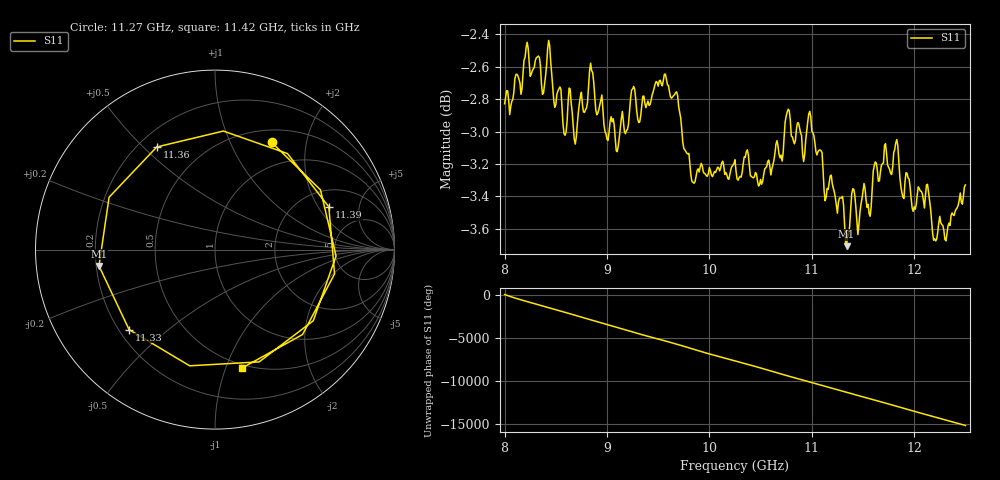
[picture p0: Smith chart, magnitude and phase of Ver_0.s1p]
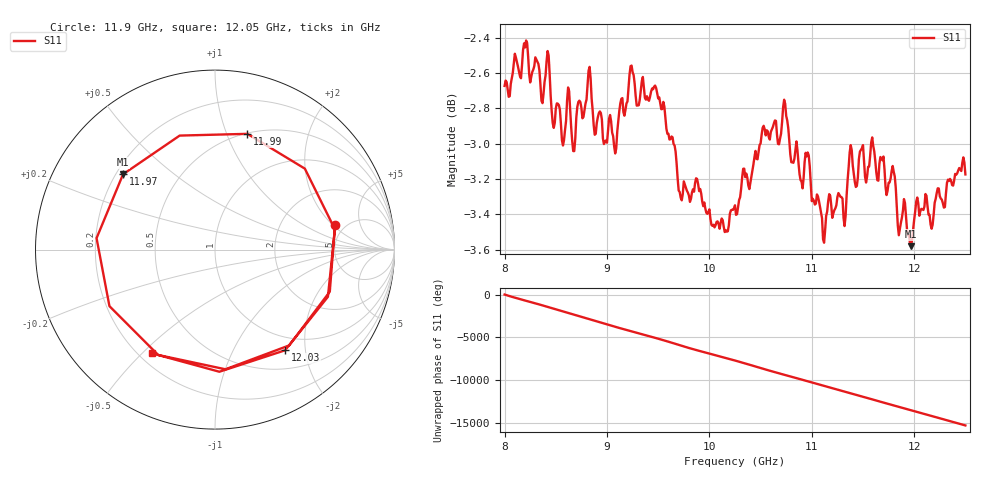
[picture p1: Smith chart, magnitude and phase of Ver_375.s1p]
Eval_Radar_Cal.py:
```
import numpy as np
import matplotlib.pyplot as plt
import pandas as pd
import os
from scipy import linalg,signal
from scipy.optimize import minimize
import metas_unclib as munc  # METAS uncertainty library for GUM-compliant propagation
import skrf as rf
from skrf.media import RectangularWaveguide
from E_Cal import xBand_ECal  # X-band E-Cal algorithm with uncertainty propagation



def vector_error_magnitude(ref_mean, dut_mean):
    """
    Returns the per-frequency error vector magnitude |ref_mean - dut_mean|.

    Parameters
    ----------
    ref_mean, dut_mean : rf.Network, munc array, or complex array-like
        Mean values of the reference and DUT calibrations.
        Accepts rf.Network (.s[:,0,0]), munc.get_value() output
        (shape (nfreqs,1,1)), or plain 1-D complex arrays.

    Returns
    -------
    numpy.ndarray, shape (nfreqs,)
        Error vector magnitude in dB (20*log10|ref - dut|) at each frequency point.
    """
    def _s11(x):
        if hasattr(x, 's'):
            return x.s[:, 0, 0]
        a = np.asarray(x)
        return a[:, 0, 0] if a.ndim == 3 else a.ravel()

    return 20 * np.log10(np.abs(_s11(ref_mean) - _s11(dut_mean)))


# --- Load reference and measured standards (folder = measurement date 090626) ---

# Reference verification short (zero offset): used as the "truth" standard
ref_short = rf.Network('090626/Ver_0.s1p')["8.4-12.5GHz"]

# Reference offset shorts at λ/8 steps (375, 750, 1125 µm) — VNA-measured verification standards
ref_short_l8  = rf.Network('090626/Ver_375.s1p')["8.4-12.5GHz"]
ref_short_l4  = rf.Network('090626/Ver_750.s1p')["8.4-12.5GHz"]
ref_short_3l8 = rf.Network('090626/Ver_1125.s1p')["8.4-12.5GHz"]

# Auto-cal-unit (ECal device) measurements: flush short + three offset shorts
meas_short   = rf.Network('090626/calkit_l0.s1p')["8.4-12.5GHz"]
meas_short_1 = rf.Network('090626/calkit_l8.s1p')["8.4-12.5GHz"]
meas_short_2 = rf.Network('090626/calkit_l4.s1p')["8.4-12.5GHz"]
meas_short_3 = rf.Network('090626/calkit_3l8.s1p')["8.4-12.5GHz"]

# DUT: matched load, used to validate calibration quality after correction
match_std = rf.Network('090626/Match.s1p')["8.4-12.5GHz"]


freq = ref_short.frequency
f = freq.f

# WR90 waveguide model (a = 22.86 mm broad wall) with 50 Ω port impedance (used for compliency with touchstone files)
WR90 = rf.RectangularWaveguide(freq, a=22.86E-3, z0=50)
# Ideal short: S11 = -1; tiny imaginary part avoids log(0) in uncertainty calculations
WR90_short = rf.Network(s=(-1-0.000000000001j)*np.ones(len(freq)), frequency=freq, z0=50)

# Ideal offset shorts: waveguide delay line cascaded with the ideal short
rho1 = WR90.line(3.75,  'mm') ** WR90_short   # λ/8 offset
rho2 = WR90.line(7.5,   'mm') ** WR90_short   # λ/4 offset
rho3 = WR90.line(11.25, 'mm') ** WR90_short   # 3λ/8 offset

# Separate copies for the cal run so rho values stay independent of ref_cal
rho1_cal = WR90.line(3.75,  'mm') ** WR90_short
rho2_cal = WR90.line(7.5,   'mm') ** WR90_short
rho3_cal = WR90.line(11.25, 'mm') ** WR90_short




# --- E-Cal using the auto-cal-unit measurements ---
# find_lengths=True: offset lengths are optimised (Nelder-Mead, "nm") because
# the ECal internal line lengths are not precisely known a priori.
# Uncertainty variances (σ²) cover noise floor, noise temperature, line length,
# directivity, tracking, and source-match contributions.
cal = xBand_ECal(standard1=meas_short_1.s11, standard2=meas_short_2.s11, standard3=meas_short_3.s11, rho1=rho1_cal, rho2=rho2_cal, rho3=rho3_cal,
                sigma_NF=(0.000001**2)*np.ones(len(freq)), sigma_NT=(0.000025**2)*np.ones(len(freq)), sigma_L=(0.0012**2)*np.ones(len(freq)),
                sigma_DD=(0.002**2)*np.ones(len(freq)), sigma_DT=(0.0125**2)*np.ones(len(freq)), sigma_DM=(0.025**2)*np.ones(len(freq)),
                sigma_RR=(0.004**2)*np.ones(len(freq)), sigma_RT=(0.0000001**2)*np.ones(len(freq)), sigma_RM=(0.004**2)*np.ones(len(freq)),
                sigma_SR=(0.05**2)*np.ones(len(freq)), find_lengths=True, find_lengths_options="nm",
                enhanced_console_output=True, initial_guess=[3.75, 7.5, 11.25], ref_standard=meas_short.s11, ref_standard_rho=WR90_short, Waveguide=WR90)

# --- Reference E-Cal using verification standards (known lengths, find_lengths=False) ---
# Line lengths are fixed at nominal values; used as the gold-standard correction
# for comparison against the auto-cal-unit result.
ref_cal = xBand_ECal(standard1=ref_short_l8.s11, standard2=ref_short_l4.s11, standard3=ref_short_3l8.s11, rho1=rho1, rho2=rho2, rho3=rho3,
                sigma_NF=(0.000001**2)*np.ones(len(freq)), sigma_NT=(0.000025**2)*np.ones(len(freq)), sigma_L=(0.0012**2)*np.ones(len(freq)),
                sigma_DD=(0.002**2)*np.ones(len(freq)), sigma_DT=(0.0125**2)*np.ones(len(freq)), sigma_DM=(0.025**2)*np.ones(len(freq)),
                sigma_RR=(0.004**2)*np.ones(len(freq)), sigma_RT=(0.0000001**2)*np.ones(len(freq)), sigma_RM=(0.004**2)*np.ones(len(freq)),
                sigma_SR=(0.05**2)*np.ones(len(freq)), find_lengths=False, find_lengths_options="de",
                enhanced_console_output=True, initial_guess=[3.75, 7.5, 11.25], ref_standard=ref_short.s11, ref_standard_rho=WR90_short, Waveguide=WR90)

# Run both calibrations (solves for error terms + propagates uncertainties)
cal.run()
ref_cal.run()


# Apply calibration corrections to the matched load (DUT) using both cal sets
dut_ref = ref_cal.apply_cal(match_std.s11)  # corrected with reference (verification) cal
dut     = cal.apply_cal(match_std.s11)      # corrected with auto-cal-unit cal

# --- Plot: S11 magnitude of auto-cal-unit result + reference ±1σ band ---
plt.figure(figsize=(6, 3))
plt.plot(f,(20*np.log10(np.abs(munc.get_value(dut)))), label='Measured (Auto-Cal-Unit)', color='blue')
# Grey band = ±1σ from reference calibration; shows whether auto-cal falls within reference uncertainty
plt.fill_between(f,(20*np.log10(np.abs(munc.get_value(dut_ref))-np.abs(munc.get_stdunc(dut_ref)))), (20*np.log10(np.abs(munc.get_value(dut_ref))+np.abs(munc.get_stdunc(dut_ref)))), color='grey', alpha=0.5, label='$\pm\sigma$ Reference')
plt.legend()
plt.xlabel('Frequency (GHz)')
plt.ylabel('Magnitude (dB)')
plt.xticks([8.5e9, 9.5e9, 10.5e9, 11.5e9, 12.5e9], ['8.5', '9.5', '10.5', '11.5', '12.5'])
plt.grid()
plt.tight_layout()
plt.savefig('UNC.svg')
plt.show()
```
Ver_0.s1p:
#  HZ  S  RI  R  50.00
! Rohde & Schwarz Vector Network Analyzer
! Rohde-Schwarz,ZNA43-4Port,1332450044101932,2.92
! Created: UTC 6/9/2026, 6:30:11 AM
! freq[Hz]  re:S11  im:S11
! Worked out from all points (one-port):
!   451 points, 8 GHz to 12.5 GHz, reference 50 ohm
!   lowest |S11| = -3.7 dB at 11.34 GHz (marker M1), VSWR 4.76, Z = 10.6 - j3.36 ohm
!   |S11| at or under -10 dB: nowhere
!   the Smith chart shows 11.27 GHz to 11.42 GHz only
!   S11 on the Smith chart (normalised r, x): 11.27 GHz: 0.66, +1.45; 11.33 GHz: 0.24, -0.37; 11.36 GHz: 0.27, +0.55; 11.39 GHz: 2.84, +2.50; 11.42 GHz: 0.47, -1.14
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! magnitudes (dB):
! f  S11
! 8 GHz  -2.8
! 8.43 GHz  -2.4
! 8.59 GHz  -3.0
! 9.1 GHz  -3.1
! 9.5 GHz  -2.7
! 9.84 GHz  -3.3
! 11 GHz  -3.0
! 11.27 GHz  -3.4
! 11.33 GHz  -3.7
! 11.34 GHz  -3.7
! 11.36 GHz  -3.6
! 11.39 GHz  -3.4
! 11.42 GHz  -3.4
! 12.5 GHz  -3.3
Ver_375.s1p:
#  HZ  S  RI  R  50.00
! Rohde & Schwarz Vector Network Analyzer
! Rohde-Schwarz,ZNA43-4Port,1332450044101932,2.92
! Created: UTC 6/9/2026, 6:30:42 AM
! freq[Hz]  re:S11  im:S11
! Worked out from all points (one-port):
!   451 points, 8 GHz to 12.5 GHz, reference 50 ohm
!   lowest |S11| = -3.6 dB at 11.97 GHz (marker M1), VSWR 4.92, Z = 11.4 + j17 ohm
!   |S11| at or under -10 dB: nowhere
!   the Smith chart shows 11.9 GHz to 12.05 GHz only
!   S11 on the Smith chart (normalised r, x): 11.9 GHz: 4.15, +2.14; 11.97 GHz: 0.23, +0.34; 11.99 GHz: 0.51, +1.19; 12.03 GHz: 0.78, -1.63; 12.05 GHz: 0.25, -0.54
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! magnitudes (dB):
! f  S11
! 8 GHz  -2.7
! 8.42 GHz  -2.5
! 8.67 GHz  -3.0
! 9.5 GHz  -2.7
! 10.04 GHz  -3.5
! 10.73 GHz  -2.8
! 11 GHz  -3.3
! 11.59 GHz  -3.0
! 11.9 GHz  -3.3
! 11.97 GHz  -3.6
! 11.99 GHz  -3.5
! 12.03 GHz  -3.3
! 12.05 GHz  -3.4
! 12.5 GHz  -3.2
